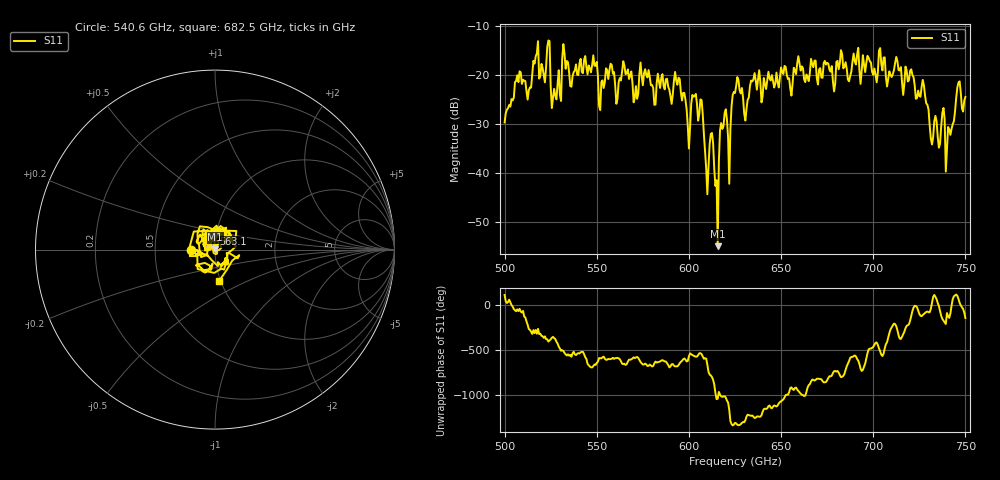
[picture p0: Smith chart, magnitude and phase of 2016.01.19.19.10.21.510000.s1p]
!Created with skrf (http://scikit-rf.org).
# GHz S RI R 50.0
!freq ReS11 ImS11
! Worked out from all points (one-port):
!   401 points, 500 GHz to 750 GHz, reference 50 ohm
!   lowest |S11| = -54.8 dB at 615.6 GHz (marker M1), VSWR 1.00, Z = 50.1 + j0.108 ohm
!   |S11| at or under -10 dB: start of sweep to end of sweep
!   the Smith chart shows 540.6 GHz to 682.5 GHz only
!   S11 on the Smith chart (normalised r, x): 540.6 GHz: 0.77, -0.01; 563.1 GHz: 0.97, +0.17; 682.5 GHz: 0.98, -0.36
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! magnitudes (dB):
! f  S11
! 500 GHz  -29.7
! 507.5 GHz  -21.5
! 513.1 GHz  -23.1
! 516.9 GHz  -16.2
! 523.8 GHz  -13.0
! 526.9 GHz  -22.8
! 531.2 GHz  -16.7
! 540.6 GHz  -17.7
! 562.5 GHz  -20.7
! 563.1 GHz  -21.1
! 593.8 GHz  -22.0
! 599.4 GHz  -30.3
! 602.5 GHz  -24.5
! 606.9 GHz  -25.1
! 609.4 GHz  -39.1
! 612.5 GHz  -31.8
! 615.6 GHz  -54.8
! 618.1 GHz  -31.0
! 621.9 GHz  -42.1
! 625 GHz  -23.7
! 631.2 GHz  -26.9
! 656.2 GHz  -21.8
! 682.5 GHz  -15.0
! 687.5 GHz  -20.2
! 718.8 GHz  -21.3
! 740.6 GHz  -30.6
! 746.2 GHz  -21.6
! 750 GHz  -24.5
